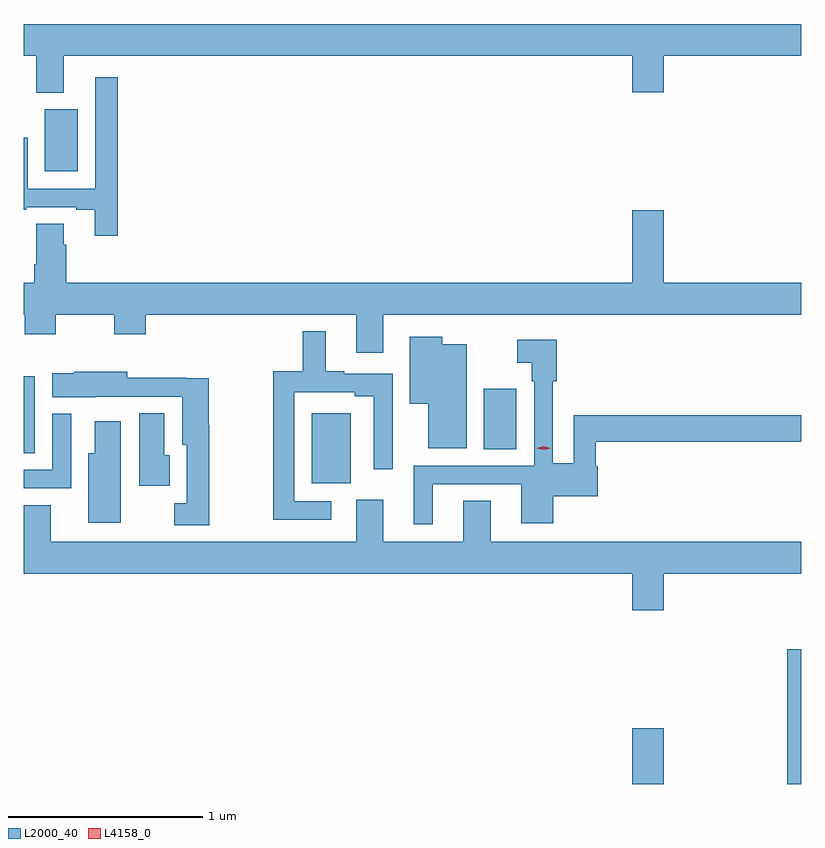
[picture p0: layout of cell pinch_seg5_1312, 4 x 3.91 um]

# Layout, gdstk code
import gdstk
lib = gdstk.Library(unit=1e-6, precision=1e-09)
def R(c, l, rs):  # rectangles x0, y0, x1, y1
    for r in rs: c.add(gdstk.rectangle(r[:2], r[2:], *l))
def P(c, l, *ps):  # polygons
    for p in ps: c.add(gdstk.Polygon(p, *l))
L2000_40 = (2000, 40)
L4158_0 = (4158, 0)

pinch_seg5_1312 = lib.new_cell('pinch_seg5_1312')
R(pinch_seg5_1312, L2000_40, [(356.816,882.319,356.98,882.607), (357.614,882.319,357.687,883.012), (355.169,883.865,355.369,884.227), (353.687,884.02,353.743,884.416), (356.054,884.041,356.221,884.353), (353.795,885.47,353.965,885.79)])
P(pinch_seg5_1312, L2000_40, [(353.893,886.064),(356.816,886.064),(356.816,885.876),(356.98,885.876),(356.98,886.064),(357.687,886.064),(357.687,886.228),(353.687,886.228),(353.687,886.064),(353.753,886.064),(353.753,885.875),(353.893,885.875)],
  [(354.17,885.955),(354.054,885.955),(354.054,885.381),(353.707,885.381),(353.707,885.643),(353.687,885.643),(353.687,885.273),(353.701,885.273),(353.701,885.285),(353.957,885.285),(353.957,885.273),(354.053,885.273),(354.053,885.138),(354.17,885.138)],
  [(355.537,884.732),(357.687,884.732),(357.687,884.896),(356.98,884.896),(356.98,885.271),(356.816,885.271),(356.816,884.896),(353.906,884.896),(353.906,885.092),(353.893,885.092),(353.893,885.2),(353.753,885.2),(353.753,884.992),(353.741,884.992),(353.741,884.896),(353.687,884.896),(353.687,884.732),(353.693,884.732),(353.693,884.633),(353.853,884.633),(353.853,884.732),(354.154,884.732),(354.154,884.633),(354.314,884.633),(354.314,884.732),(355.397,884.732),(355.397,884.538),(355.537,884.538)],
  [(355.27,883.773),(355.08,883.773),(355.08,884.334),(355.391,884.334),(355.391,884.314),(355.488,884.314),(355.488,883.938),(355.586,883.938),(355.586,884.43),(355.336,884.43),(355.336,884.443),(355.24,884.443),(355.24,884.647),(355.123,884.647),(355.123,884.443),(354.972,884.443),(354.972,883.677),(355.27,883.677)],
  [(355.966,884.581),(355.839,884.581),(355.839,884.62),(355.673,884.62),(355.673,884.276),(355.769,884.276),(355.769,884.045),(355.966,884.045)],
  [(355.792,883.86),(356.246,883.86),(356.246,883.659),(356.41,883.659),(356.41,883.799),(356.641,883.799),(356.641,883.953),(356.629,883.953),(356.629,884.08),(357.687,884.08),(357.687,884.216),(356.517,884.216),(356.517,883.97),(356.409,883.97),(356.409,884.39),(356.429,884.39),(356.429,884.605),(356.226,884.605),(356.226,884.486),(356.301,884.486),(356.301,884.39),(356.313,884.39),(356.313,883.956),(355.694,883.956),(355.694,883.656),(355.792,883.656)],
  [(354.641,884.164),(354.639,884.164),(354.639,884.406),(354.527,884.406),(354.527,884.409),(354.219,884.409),(354.219,884.439),(353.947,884.439),(353.947,884.431),(353.835,884.431),(353.835,884.309),(354.057,884.309),(354.057,884.31),(354.503,884.31),(354.503,884.064),(354.527,884.064),(354.527,883.762),(354.462,883.762),(354.462,883.649),(354.641,883.649)],
  [(354.439,884.01),(354.409,884.01),(354.409,884.225),(354.281,884.225),(354.281,883.854),(354.439,883.854)],
  [(353.931,884.224),(353.835,884.224),(353.835,883.935),(353.687,883.935),(353.687,883.839),(353.931,883.839)],
  [(354.187,884.185),(354.053,884.185),(354.053,884.02),(354.02,884.02),(354.02,883.662),(354.187,883.662)],
  [(356.98,883.4),(357.687,883.4),(357.687,883.564),(356.089,883.564),(356.089,883.775),(355.949,883.775),(355.949,883.564),(355.537,883.564),(355.537,883.78),(355.397,883.78),(355.397,883.564),(353.827,883.564),(353.827,883.754),(353.687,883.754),(353.687,883.4),(356.816,883.4),(356.816,883.212),(356.98,883.212)])
P(pinch_seg5_1312, L4158_0, [(356.362,884.037),(356.326,884.046),(356.326,884.046),(356.326,884.046),(356.362,884.057),(356.398,884.047),(356.398,884.047),(356.398,884.047)])

lib.write_gds('pinch_seg5_1312.gds')
